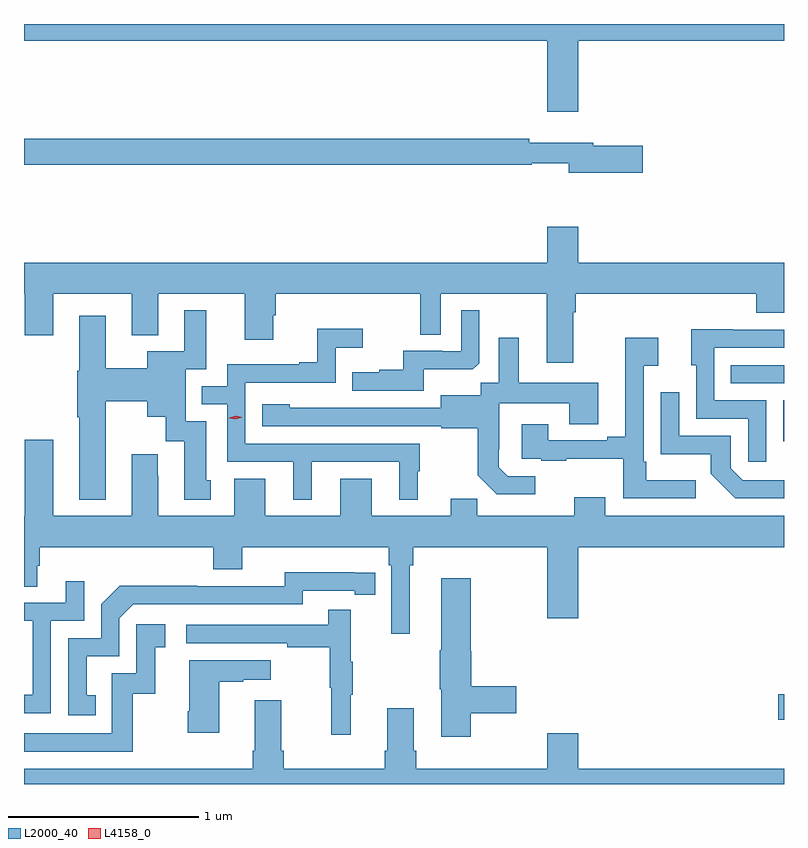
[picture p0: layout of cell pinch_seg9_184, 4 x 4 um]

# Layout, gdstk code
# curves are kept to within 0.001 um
import gdstk
lib = gdstk.Library(unit=1e-6, precision=1e-09)
def R(c, l, rs):  # rectangles x0, y0, x1, y1
    for r in rs: c.add(gdstk.rectangle(r[:2], r[2:], *l))
def P(c, l, *ps):  # polygons
    for p in ps: c.add(gdstk.Polygon(p, *l))
L2000_40 = (2000, 40)
L4158_0 = (4158, 0)

pinch_seg9_184 = lib.new_cell('pinch_seg9_184')
R(pinch_seg9_184, L2000_40, [(801.588,1195.511,801.618,1195.646), (801.614,1196.978,801.618,1197.193), (801.337,1197.282,801.618,1197.378)])
P(pinch_seg9_184, L2000_40, [(800.536,1199.084),(801.618,1199.084),(801.618,1199.173),(797.618,1199.173),(797.618,1199.084),(800.372,1199.084),(800.372,1198.71),(800.536,1198.71)],
  [(800.875,1198.532),(800.614,1198.532),(800.614,1198.549),(800.276,1198.549),(800.276,1198.568),(797.618,1198.568),(797.618,1198.432),(800.29,1198.432),(800.29,1198.44),(800.486,1198.44),(800.486,1198.39),(800.875,1198.39)],
  [(797.618,1197.752),(797.621,1197.752),(797.621,1197.534),(797.773,1197.534),(797.773,1197.752),(798.185,1197.752),(798.185,1197.536),(798.325,1197.536),(798.325,1197.752),(798.779,1197.752),(798.779,1197.51),(798.931,1197.51),(798.931,1197.639),(798.944,1197.639),(798.944,1197.752),(799.704,1197.752),(799.704,1197.538),(799.812,1197.538),(799.812,1197.752),(800.369,1197.752),(800.369,1197.39),(800.509,1197.39),(800.509,1197.656),(800.522,1197.656),(800.522,1197.752),(801.473,1197.752),(801.473,1197.653),(801.618,1197.653),(801.618,1197.916),(800.536,1197.916),(800.536,1198.105),(800.372,1198.105),(800.372,1197.916),(797.618,1197.916)],
  [(798.049,1197.188),(798.266,1197.188),(798.266,1197.107),(798.365,1197.107),(798.365,1196.976),(798.461,1196.976),(798.461,1196.67),(798.601,1196.67),(798.601,1196.772),(798.577,1196.772),(798.577,1197.081),(798.468,1197.081),(798.468,1197.357),(798.577,1197.357),(798.577,1197.667),(798.461,1197.667),(798.461,1197.451),(798.266,1197.451),(798.266,1197.36),(798.049,1197.36),(798.049,1197.637),(797.909,1197.637),(797.909,1197.348),(797.897,1197.348),(797.897,1197.104),(797.909,1197.104),(797.909,1196.669),(798.049,1196.669)],
  [(799.723,1197.356),(799.981,1197.356),(800.013,1197.387),(800.013,1197.667),(799.92,1197.667),(799.92,1197.45),(799.82,1197.45),(799.82,1197.453),(799.613,1197.453),(799.613,1197.352),(799.489,1197.352),(799.489,1197.34),(799.345,1197.34),(799.345,1197.243),(799.723,1197.243)],
  [(799.132,1196.868),(799.592,1196.868),(799.592,1196.669),(799.69,1196.669),(799.69,1196.82),(799.702,1196.82),(799.702,1196.964),(798.783,1196.964),(798.783,1197.285),(799.26,1197.285),(799.26,1197.47),(799.402,1197.47),(799.402,1197.569),(799.162,1197.569),(799.162,1197.394),(799.067,1197.394),(799.067,1197.381),(798.687,1197.381),(798.687,1197.267),(798.554,1197.267),(798.554,1197.171),(798.687,1197.171),(798.687,1196.868),(799.034,1196.868),(799.034,1196.669),(799.132,1196.669)],
  [(801.525,1197.192),(801.252,1197.192),(801.252,1197.468),(801.618,1197.468),(801.618,1197.564),(801.349,1197.564),(801.349,1197.566),(801.131,1197.566),(801.131,1197.378),(801.156,1197.378),(801.156,1197.096),(801.429,1197.096),(801.429,1196.868),(801.525,1196.868)],
  [(800.308,1196.793),(800.163,1196.793),(800.116,1196.84),(800.116,1196.935),(800.118,1196.935),(800.118,1197.176),(800.489,1197.176),(800.489,1197.067),(800.641,1197.067),(800.641,1197.286),(800.221,1197.286),(800.221,1197.523),(800.117,1197.523),(800.117,1197.284),(800.022,1197.284),(800.022,1197.22),(799.811,1197.22),(799.811,1197.153),(799.017,1197.154),(799.017,1197.172),(798.873,1197.172),(798.873,1197.057),(799.815,1197.057),(799.815,1197.045),(800.007,1197.045),(800.007,1196.799),(800.107,1196.699),(800.308,1196.699)],
  [(801.154,1196.773),(800.893,1196.773),(800.893,1196.869),(800.88,1196.869),(800.88,1197.374),(800.956,1197.374),(800.956,1197.523),(800.783,1197.523),(800.783,1197.001),(800.687,1197.001),(800.687,1196.982),(800.377,1196.982),(800.377,1197.067),(800.237,1197.067),(800.237,1196.886),(800.341,1196.886),(800.341,1196.874),(800.473,1196.874),(800.473,1196.885),(800.772,1196.885),(800.772,1196.676),(801.154,1196.676)],
  [(801.618,1196.772),(801.402,1196.772),(801.339,1196.835),(801.339,1197.006),(801.066,1197.006),(801.066,1197.235),(800.97,1197.235),(800.97,1196.909),(801.232,1196.909),(801.232,1196.807),(801.362,1196.676),(801.618,1196.676)],
  [(799.648,1196.324),(799.667,1196.324),(799.667,1196.42),(800.372,1196.42),(800.372,1196.046),(800.536,1196.046),(800.536,1196.42),(801.618,1196.42),(801.618,1196.584),(800.677,1196.584),(800.677,1196.683),(800.513,1196.683),(800.513,1196.584),(800.003,1196.584),(800.003,1196.675),(799.865,1196.675),(799.865,1196.584),(799.447,1196.584),(799.447,1196.779),(799.283,1196.779),(799.283,1196.584),(798.889,1196.584),(798.889,1196.779),(798.725,1196.779),(798.725,1196.584),(798.325,1196.584),(798.325,1196.795),(798.322,1196.795),(798.322,1196.908),(798.185,1196.908),(798.185,1196.584),(797.773,1196.584),(797.773,1196.986),(797.621,1196.986),(797.621,1196.584),(797.618,1196.584),(797.618,1196.212),(797.689,1196.212),(797.689,1196.322),(797.702,1196.322),(797.702,1196.42),(798.614,1196.42),(798.614,1196.303),(798.766,1196.303),(798.766,1196.42),(799.538,1196.42),(799.538,1196.324),(799.551,1196.324),(799.551,1195.965),(799.648,1195.965)],
  [(797.996,1195.641),(797.947,1195.641),(797.947,1195.845),(798.12,1195.845),(798.12,1196.046),(798.192,1196.118),(799.086,1196.118),(799.086,1196.19),(799.358,1196.19),(799.358,1196.17),(799.466,1196.17),(799.466,1196.286),(798.99,1196.287),(798.99,1196.214),(798.53,1196.214),(798.53,1196.216),(798.122,1196.216),(798.024,1196.118),(798.024,1195.941),(797.85,1195.941),(797.85,1195.536),(797.996,1195.536)],
  [(799.968,1195.546),(800.209,1195.546),(800.209,1195.688),(799.973,1195.688),(799.973,1195.871),(799.968,1195.871),(799.968,1196.257),(799.814,1196.257),(799.814,1195.877),(799.807,1195.877),(799.807,1195.671),(799.814,1195.671),(799.814,1195.422),(799.968,1195.422)],
  [(797.76,1196.031),(797.934,1196.031),(797.934,1196.239),(797.837,1196.239),(797.837,1196.127),(797.618,1196.127),(797.618,1196.031),(797.664,1196.031),(797.664,1195.642),(797.618,1195.642),(797.618,1195.545),(797.76,1195.545)],
  [(799.337,1195.643),(799.348,1195.643),(799.348,1195.817),(799.337,1195.817),(799.337,1196.089),(799.219,1196.089),(799.219,1196.01),(798.471,1196.01),(798.471,1195.914),(799.003,1195.914),(799.003,1195.894),(799.227,1195.894),(799.227,1195.68),(799.234,1195.68),(799.234,1195.431),(799.337,1195.431)],
  [(798.19,1195.647),(798.308,1195.647),(798.308,1195.893),(798.361,1195.893),(798.361,1196.014),(798.21,1196.014),(798.21,1195.755),(798.081,1195.755),(798.081,1195.44),(797.618,1195.44),(797.618,1195.344),(798.19,1195.344)],
  [(798.646,1195.711),(798.773,1195.711),(798.773,1195.721),(798.916,1195.721),(798.916,1195.825),(798.488,1195.825),(798.488,1195.555),(798.481,1195.555),(798.481,1195.443),(798.646,1195.443)],
  [(801.618,1195.252),(800.536,1195.252),(800.536,1195.441),(800.372,1195.441),(800.372,1195.252),(799.682,1195.252),(799.682,1195.348),(799.669,1195.348),(799.669,1195.573),(799.529,1195.573),(799.529,1195.348),(799.517,1195.348),(799.517,1195.252),(798.986,1195.252),(798.986,1195.348),(798.973,1195.348),(798.973,1195.615),(798.833,1195.615),(798.833,1195.348),(798.821,1195.348),(798.821,1195.252),(797.618,1195.252),(797.618,1195.173),(801.618,1195.173)])
P(pinch_seg9_184, L4158_0, [(798.733,1197.092),(798.698,1197.099),(798.698,1197.1),(798.698,1197.1),(798.732,1197.112),(798.767,1197.104),(798.767,1197.104),(798.767,1197.104)])

lib.write_gds('pinch_seg9_184.gds')
